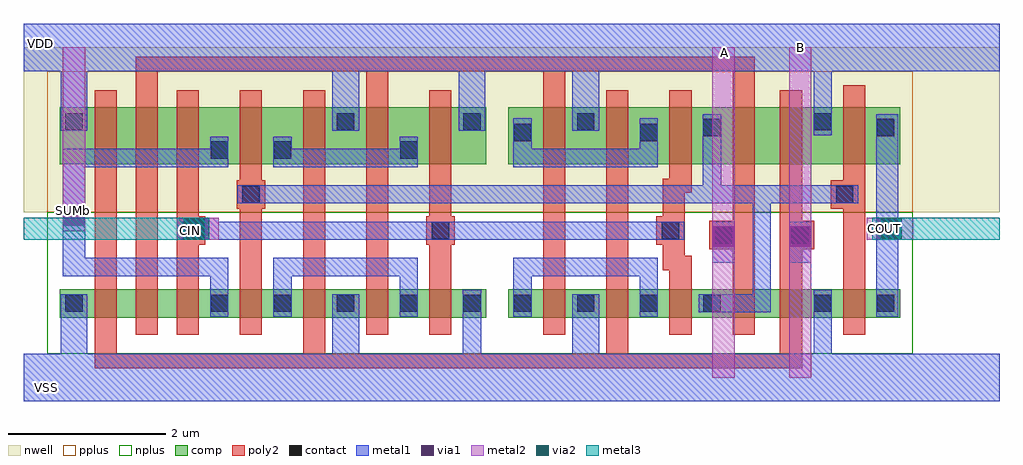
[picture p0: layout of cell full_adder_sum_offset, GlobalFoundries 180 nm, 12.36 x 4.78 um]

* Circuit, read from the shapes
.subckt full_adder_sum_offset A B CIN COUT SUMb VDD VSS
XM1 n1 B VSS VSUBS nfet_03v3 w=0.36u l=0.28u
XM2 n2 A n1 VSUBS nfet_03v3 w=0.36u l=0.28u
XM3 SUMb CIN n2 VSUBS nfet_03v3 w=0.36u l=0.28u
XM4 n3 n4 SUMb VSUBS nfet_03v3 w=0.36u l=0.28u
XM5 VSS B n3 VSUBS nfet_03v3 w=0.36u l=0.28u
XM6 n3 A VSS VSUBS nfet_03v3 w=0.36u l=0.28u
XM7 VSS CIN n3 VSUBS nfet_03v3 w=0.36u l=0.28u
XM8 VSS A n5 VSUBS nfet_03v3 w=0.36u l=0.28u
XM9 n5 B VSS VSUBS nfet_03v3 w=0.36u l=0.28u
XM10 n4 CIN n5 VSUBS nfet_03v3 w=0.36u l=0.28u
XM11 n6 A n4 VSUBS nfet_03v3 w=0.36u l=0.28u
XM12 VSS B n6 VSUBS nfet_03v3 w=0.36u l=0.28u
XM13 COUT n4 VSS VSUBS nfet_03v3 w=0.36u l=0.28u
XM14 n7 B VDD n8 pfet_03v3 w=0.72u l=0.28u
XM15 n9 A n7 n8 pfet_03v3 w=0.72u l=0.28u
XM16 SUMb CIN n9 n8 pfet_03v3 w=0.72u l=0.28u
XM17 n10 n4 SUMb n8 pfet_03v3 w=0.72u l=0.28u
XM18 VDD B n10 n8 pfet_03v3 w=0.72u l=0.28u
XM19 n10 A VDD n8 pfet_03v3 w=0.72u l=0.28u
XM20 VDD CIN n10 n8 pfet_03v3 w=0.72u l=0.28u
XM21 VDD A n11 n8 pfet_03v3 w=0.72u l=0.28u
XM22 n11 B VDD n8 pfet_03v3 w=0.72u l=0.28u
XM23 n4 CIN n11 n8 pfet_03v3 w=0.72u l=0.28u
XM24 n12 A n4 n8 pfet_03v3 w=0.72u l=0.28u
XM25 VDD B n12 n8 pfet_03v3 w=0.72u l=0.28u
XM26 COUT n4 VDD n8 pfet_03v3 w=0.72u l=0.28u
.ends

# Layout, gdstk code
import gdstk
lib = gdstk.Library(unit=1e-6, precision=5e-09)
def R(c, l, rs):  # rectangles x0, y0, x1, y1
    for r in rs: c.add(gdstk.rectangle(r[:2], r[2:], *l))
def A(c, l, x, y, w, h, nx, ny, dx, dy):  # array of equal rectangles
    R(c, l, [(x+i*dx, y+j*dy, x+i*dx+w, y+j*dy+h) for i in range(nx) for j in range(ny)])
nwell = (21, 0)
comp = (22, 0)
poly2 = (30, 0)
pplus = (31, 0)
nplus = (32, 0)
contact = (33, 0)
metal1 = (34, 0)
via1 = (35, 0)
metal2 = (36, 0)
via2 = (38, 0)
metal3 = (42, 0)

full_adder_sum_offset = lib.new_cell('full_adder_sum_offset')
R(full_adder_sum_offset, nwell, [(-6.525,-0.35,5.835,1.74)])
R(full_adder_sum_offset, comp, [(-6.065,-1.68,-0.665,-1.32), (-0.385,-1.68,4.575,-1.32), (-6.065,0.26,-0.665,0.98), (-0.385,0.26,4.575,0.98)])
R(full_adder_sum_offset, poly2, [(-5.625,-2.32,3.335,-2.14), (-5.625,-2.14,-5.345,1.2), (-2.985,-2.14,-2.705,1.2), (0.855,-2.14,1.135,1.2), (3.055,-2.14,3.335,1.2), (-5.105,-1.9,-4.825,1.44), (-4.585,-1.9,-4.305,1.2), (-3.785,-1.9,-3.505,1.2), (-2.185,-1.9,-1.905,1.44), (-1.385,-1.9,-1.105,1.2), (0.055,-1.9,0.335,1.44), (1.655,-1.9,1.935,-1.08), (2.455,-1.9,2.735,1.44), (3.855,-1.9,4.135,1.26), (1.57,-1.08,1.935,-0.9), (1.57,-0.9,1.85,-0.1), (2.16,-0.815,2.52,-0.455), (3.13,-0.815,3.49,-0.455), (-4.585,-0.76,-4.225,-0.4), (-1.425,-0.76,-1.065,-0.4), (1.49,-0.76,1.85,-0.4), (-3.825,-0.3,-3.465,0.06), (3.695,-0.3,4.055,0.06), (1.57,-0.1,1.935,0.08), (1.655,0.08,1.935,1.2), (-5.105,1.44,2.735,1.62)])
R(full_adder_sum_offset, pplus, [(-6.225,-0.35,4.735,1.44)])
R(full_adder_sum_offset, nplus, [(-6.225,-2.14,4.735,-0.35)])
A(full_adder_sum_offset, contact, -4.155, -1.61, 0.22, 0.22, 5, 1, 0.8, 0)
A(full_adder_sum_offset, contact, -0.315, -1.61, 0.22, 0.22, 4, 1, 0.8, 0)
R(full_adder_sum_offset, contact, [(-5.995,-1.61,-5.775,-1.39), (3.485,-1.61,3.705,-1.39), (4.285,-1.61,4.505,-1.39), (2.23,-0.745,2.45,-0.525), (3.2,-0.745,3.42,-0.525), (-4.515,-0.69,-4.295,-0.47), (-1.355,-0.69,-1.135,-0.47), (1.56,-0.69,1.78,-0.47), (-3.755,-0.23,-3.535,-0.01), (3.765,-0.23,3.985,-0.01), (-4.155,0.33,-3.935,0.55), (-3.355,0.33,-3.135,0.55), (-1.755,0.33,-1.535,0.55), (-0.315,0.555,-0.095,0.775), (1.285,0.555,1.505,0.775), (2.085,0.615,2.305,0.835), (4.285,0.615,4.505,0.835), (-5.995,0.69,-5.775,0.91), (-2.555,0.69,-2.335,0.91), (-0.955,0.69,-0.735,0.91), (0.485,0.69,0.705,0.91), (3.485,0.69,3.705,0.91)])
R(full_adder_sum_offset, metal1, [(-6.525,-2.74,5.835,-2.14), (-6.055,-2.14,-5.715,-1.385), (-2.615,-2.14,-2.275,-1.385), (-0.96,-2.14,-0.73,-1.33), (0.425,-2.14,0.765,-1.385), (3.48,-2.14,3.71,-1.33), (-4.16,-1.67,-3.93,-0.925), (-3.36,-1.67,-3.13,-0.925), (-1.76,-1.67,-1.53,-0.925), (-0.32,-1.67,-0.09,-0.925), (1.28,-1.67,1.51,-0.925), (4.275,-1.67,4.555,0.895), (2.025,-1.615,2.94,-1.385), (2.71,-1.385,2.94,-0.235), (-6.025,-1.155,-4.16,-0.925), (-3.13,-1.155,-1.76,-0.925), (-0.09,-1.155,1.28,-0.925), (2.2,-0.985,2.48,-0.465), (3.17,-0.985,3.45,-0.465), (-6.025,-0.925,-5.745,0.225), (-4.575,-0.695,-4.055,-0.415), (-4.575,-0.695,1.84,-0.465), (-3.815,-0.235,4.045,-0.005), (2.08,-0.005,2.31,0.895), (-6.025,0.225,-4.16,0.455), (-4.16,0.225,-3.93,0.61), (-3.36,0.225,-3.13,0.61), (-3.13,0.225,-1.76,0.455), (-1.76,0.225,-1.53,0.61), (-0.32,0.225,-0.09,0.845), (-0.09,0.225,1.28,0.455), (1.28,0.225,1.51,0.845), (3.48,0.63,3.71,1.44), (-6.055,0.685,-5.715,1.44), (-2.615,0.685,-2.275,1.44), (-1.015,0.685,-0.675,1.44), (0.425,0.685,0.765,1.44), (-6.525,1.44,5.835,2.04)])
R(full_adder_sum_offset, via1, [(2.21,-0.785,2.47,-0.525), (3.18,-0.785,3.44,-0.525), (-4.445,-0.685,-4.185,-0.425), (4.285,-0.685,4.545,-0.425), (-6.015,-0.52,-5.755,-0.26)])
R(full_adder_sum_offset, metal2, [(2.2,-2.44,2.48,1.74), (3.17,-2.44,3.45,1.74), (-4.575,-0.695,-4.055,-0.415), (4.155,-0.695,4.675,-0.415), (4.225,-0.695,4.745,-0.415), (-6.025,-0.59,-5.745,1.74)])
R(full_adder_sum_offset, via2, [(-4.495,-0.685,-4.235,-0.425), (4.335,-0.685,4.595,-0.425)])
R(full_adder_sum_offset, metal3, [(-6.525,-0.695,-4.175,-0.415), (4.225,-0.695,5.835,-0.415)])
full_adder_sum_offset.add(gdstk.Label('COUT', (4.38,-0.555), layer=34, texttype=10))
full_adder_sum_offset.add(gdstk.Label('CIN', (-4.405,-0.58), layer=34, texttype=10))
full_adder_sum_offset.add(gdstk.Label('SUMb', (-5.89,-0.33), layer=34, texttype=10))
full_adder_sum_offset.add(gdstk.Label('VSS', (-6.23,-2.56), layer=34, texttype=10))
full_adder_sum_offset.add(gdstk.Label('VDD', (-6.305,1.79), layer=34, texttype=10))
full_adder_sum_offset.add(gdstk.Label('B', (3.31,1.74), layer=36, texttype=10))
full_adder_sum_offset.add(gdstk.Label('A', (2.35,1.68), layer=36, texttype=10))

lib.write_gds('full_adder_sum_offset.gds')
